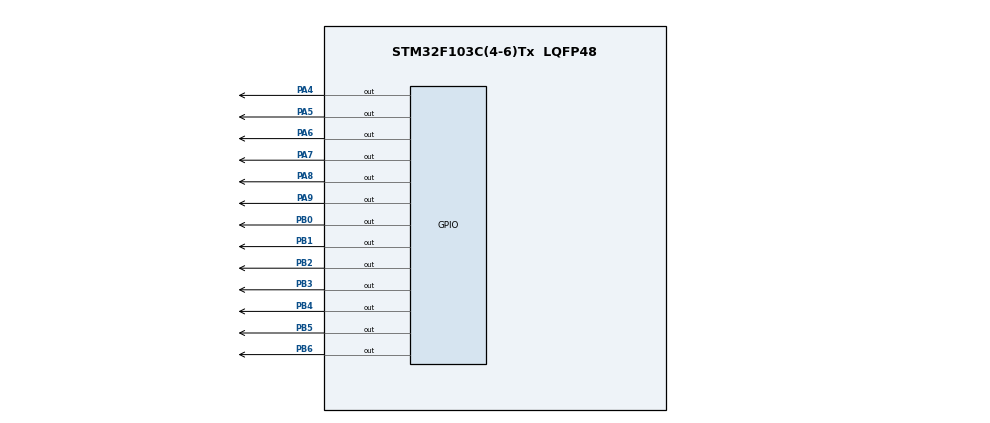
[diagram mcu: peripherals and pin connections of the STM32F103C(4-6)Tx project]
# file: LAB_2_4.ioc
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Mcu.Family=STM32F1
Mcu.Name=STM32F103C(4-6)Tx
Mcu.Package=LQFP48
NVIC.PriorityGroup=NVIC_PRIORITYGROUP_4
NVIC.TIM2_IRQn=true\:0\:0\:false\:false\:true\:true\:true
PA4.Signal=GPIO_Output
PA5.Signal=GPIO_Output
PA6.PinState=GPIO_PIN_SET
PA6.Signal=GPIO_Output
PA7.PinState=GPIO_PIN_SET
PA7.Signal=GPIO_Output
PA8.PinState=GPIO_PIN_SET
PA8.Signal=GPIO_Output
PA9.PinState=GPIO_PIN_SET
PA9.Signal=GPIO_Output
PB0.Signal=GPIO_Output
PB1.Signal=GPIO_Output
PB2.Signal=GPIO_Output
PB3.Signal=GPIO_Output
PB4.Signal=GPIO_Output
PB5.Signal=GPIO_Output
PB6.Signal=GPIO_Output
ProjectManager.HeapSize=0x200
ProjectManager.StackSize=0x400
ProjectManager.TargetToolchain=STM32CubeIDE
RCC.APB1Freq_Value=8000000
RCC.APB2Freq_Value=8000000
TIM2.Period=249
TIM2.Prescaler=7999
VP_SYS_VS_ND.Mode=No_Debug
VP_TIM2_VS_ClockSourceINT.Mode=Internal
board=custom

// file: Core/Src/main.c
/* USER CODE BEGIN Header */
/**
  ******************************************************************************
  * @file           : main.c
  * @brief          : Main program body
  ******************************************************************************
  * @attention
  *
  * <h2><center>&copy; Copyright (c) 2026 STMicroelectronics.
  * All rights reserved.</center></h2>
  *
  * This software component is licensed by ST under BSD 3-Clause license,
  * the "License"; You may not use this file except in compliance with the
  * License. You may obtain a copy of the License at:
  *                        opensource.org/licenses/BSD-3-Clause
  *
  ******************************************************************************
  */
/* USER CODE END Header */
#include "main.h"

TIM_HandleTypeDef htim2;

void SystemClock_Config(void);
static void MX_GPIO_Init(void);
static void MX_TIM2_Init(void);

/* USER CODE BEGIN 0 */
const int MAX_LED = 4;
int index_led = 0;
int led_buffer[4] = {1, 2, 3, 4};

void display7SEG(int num) {
    uint8_t segmentMap[10] = {0x40, 0x79, 0x24, 0x30, 0x19, 0x12, 0x02, 0x78, 0x00, 0x10};
    if (num < 0 || num > 9) return;
    uint8_t val = segmentMap[num];

    HAL_GPIO_WritePin(GPIOB, GPIO_PIN_0, (val >> 0) & 0x01);
    HAL_GPIO_WritePin(GPIOB, GPIO_PIN_1, (val >> 1) & 0x01);
    HAL_GPIO_WritePin(GPIOB, GPIO_PIN_2, (val >> 2) & 0x01);
    HAL_GPIO_WritePin(GPIOB, GPIO_PIN_3, (val >> 3) & 0x01);
    HAL_GPIO_WritePin(GPIOB, GPIO_PIN_4, (val >> 4) & 0x01);
    HAL_GPIO_WritePin(GPIOB, GPIO_PIN_5, (val >> 5) & 0x01);
    HAL_GPIO_WritePin(GPIOB, GPIO_PIN_6, (val >> 6) & 0x01);
}

void update7SEG(int index) {
    // 1. Turn OFF all Enable pins first to prevent ghosting (PA6 to PA9 High)
    HAL_GPIO_WritePin(GPIOA, GPIO_PIN_6 | GPIO_PIN_7 | GPIO_PIN_8 | GPIO_PIN_9, GPIO_PIN_SET);

    // 2. Output the data and turn ON the specific transistor (Low)
    switch (index) {
        case 0:
            display7SEG(led_buffer[0]);
            HAL_GPIO_WritePin(GPIOA, GPIO_PIN_6, GPIO_PIN_RESET);
            break;
        case 1:
            display7SEG(led_buffer[1]);
            HAL_GPIO_WritePin(GPIOA, GPIO_PIN_7, GPIO_PIN_RESET);
            break;
        case 2:
            display7SEG(led_buffer[2]);
            HAL_GPIO_WritePin(GPIOA, GPIO_PIN_8, GPIO_PIN_RESET);
            break;
        case 3:
            display7SEG(led_buffer[3]);
            HAL_GPIO_WritePin(GPIOA, GPIO_PIN_9, GPIO_PIN_RESET);
            break;
        default:
            break;
    }
}
/* USER CODE END 0 */

int main(void)
{

  /* MCU Configuration--------------------------------------------------------*/

  /* Reset of all peripherals, Initializes the Flash interface and the Systick. */
  HAL_Init();

  /* Configure the system clock */
  SystemClock_Config();

  /* Initialize all configured peripherals */
  MX_GPIO_Init();
  MX_TIM2_Init();
  /* USER CODE BEGIN 2 */
  HAL_TIM_Base_Start_IT(&htim2);
  /* USER CODE END 2 */

  /* Infinite loop */
  /* USER CODE BEGIN WHILE */
  while (1)
  {
      HAL_GPIO_TogglePin(GPIOA, GPIO_PIN_4 | GPIO_PIN_5);

      HAL_Delay(1000);
    /* USER CODE END WHILE */

  }
}

void SystemClock_Config(void)
{
  RCC_OscInitTypeDef RCC_OscInitStruct = {0};
  RCC_ClkInitTypeDef RCC_ClkInitStruct = {0};

  /** Initializes the RCC Oscillators according to the specified parameters
  * in the RCC_OscInitTypeDef structure.
  */
  RCC_OscInitStruct.OscillatorType = RCC_OSCILLATORTYPE_HSI;
  RCC_OscInitStruct.HSIState = RCC_HSI_ON;
  RCC_OscInitStruct.HSICalibrationValue = RCC_HSICALIBRATION_DEFAULT;
  RCC_OscInitStruct.PLL.PLLState = RCC_PLL_NONE;
  if (HAL_RCC_OscConfig(&RCC_OscInitStruct) != HAL_OK)
  {
    Error_Handler();
  }
  /** Initializes the CPU, AHB and APB buses clocks
  */
  RCC_ClkInitStruct.ClockType = RCC_CLOCKTYPE_HCLK|RCC_CLOCKTYPE_SYSCLK
                              |RCC_CLOCKTYPE_PCLK1|RCC_CLOCKTYPE_PCLK2;
  RCC_ClkInitStruct.SYSCLKSource = RCC_SYSCLKSOURCE_HSI;
  RCC_ClkInitStruct.AHBCLKDivider = RCC_SYSCLK_DIV1;
  RCC_ClkInitStruct.APB1CLKDivider = RCC_HCLK_DIV1;
  RCC_ClkInitStruct.APB2CLKDivider = RCC_HCLK_DIV1;

  if (HAL_RCC_ClockConfig(&RCC_ClkInitStruct, FLASH_LATENCY_0) != HAL_OK)
  {
    Error_Handler();
  }
}

static void MX_TIM2_Init(void)
{

  TIM_ClockConfigTypeDef sClockSourceConfig = {0};
  TIM_MasterConfigTypeDef sMasterConfig = {0};

  htim2.Instance = TIM2;
  htim2.Init.Prescaler = 7999;
  htim2.Init.CounterMode = TIM_COUNTERMODE_UP;
  htim2.Init.Period = 249;
  htim2.Init.ClockDivision = TIM_CLOCKDIVISION_DIV1;
  htim2.Init.AutoReloadPreload = TIM_AUTORELOAD_PRELOAD_DISABLE;
  if (HAL_TIM_Base_Init(&htim2) != HAL_OK)
  {
    Error_Handler();
  }
  sClockSourceConfig.ClockSource = TIM_CLOCKSOURCE_INTERNAL;
  if (HAL_TIM_ConfigClockSource(&htim2, &sClockSourceConfig) != HAL_OK)
  {
    Error_Handler();
  }
  sMasterConfig.MasterOutputTrigger = TIM_TRGO_RESET;
  sMasterConfig.MasterSlaveMode = TIM_MASTERSLAVEMODE_DISABLE;
  if (HAL_TIMEx_MasterConfigSynchronization(&htim2, &sMasterConfig) != HAL_OK)
  {
    Error_Handler();
  }

}

static void MX_GPIO_Init(void)
{
  GPIO_InitTypeDef GPIO_InitStruct = {0};

  /* GPIO Ports Clock Enable */
  __HAL_RCC_GPIOA_CLK_ENABLE();
  __HAL_RCC_GPIOB_CLK_ENABLE();

  /*Configure GPIO pin Output Level */
  HAL_GPIO_WritePin(GPIOA, GPIO_PIN_4|GPIO_PIN_5, GPIO_PIN_RESET);

  /*Configure GPIO pin Output Level */
  HAL_GPIO_WritePin(GPIOA, GPIO_PIN_6|GPIO_PIN_7|GPIO_PIN_8|GPIO_PIN_9, GPIO_PIN_SET);

  /*Configure GPIO pin Output Level */
  HAL_GPIO_WritePin(GPIOB, GPIO_PIN_0|GPIO_PIN_1|GPIO_PIN_2|GPIO_PIN_3
                          |GPIO_PIN_4|GPIO_PIN_5|GPIO_PIN_6, GPIO_PIN_RESET);

  /*Configure GPIO pins : PA4 PA5 PA6 PA7
                           PA8 PA9 */
  GPIO_InitStruct.Pin = GPIO_PIN_4|GPIO_PIN_5|GPIO_PIN_6|GPIO_PIN_7
                          |GPIO_PIN_8|GPIO_PIN_9;
  GPIO_InitStruct.Mode = GPIO_MODE_OUTPUT_PP;
  GPIO_InitStruct.Pull = GPIO_NOPULL;
  GPIO_InitStruct.Speed = GPIO_SPEED_FREQ_LOW;
  HAL_GPIO_Init(GPIOA, &GPIO_InitStruct);

  /*Configure GPIO pins : PB0 PB1 PB2 PB3
                           PB4 PB5 PB6 */
  GPIO_InitStruct.Pin = GPIO_PIN_0|GPIO_PIN_1|GPIO_PIN_2|GPIO_PIN_3
                          |GPIO_PIN_4|GPIO_PIN_5|GPIO_PIN_6;
  GPIO_InitStruct.Mode = GPIO_MODE_OUTPUT_PP;
  GPIO_InitStruct.Pull = GPIO_NOPULL;
  GPIO_InitStruct.Speed = GPIO_SPEED_FREQ_LOW;
  HAL_GPIO_Init(GPIOB, &GPIO_InitStruct);

}

/* USER CODE BEGIN 4 */
void HAL_TIM_PeriodElapsedCallback(TIM_HandleTypeDef *htim)
{
    if(htim->Instance == TIM2)
    {
        update7SEG(index_led++);
        if (index_led >= MAX_LED) {
            index_led = 0;
        }
    }
}
/* USER CODE END 4 */

void Error_Handler(void)
{
  __disable_irq();
  while (1)
  {
  }
}

/************************ (C) COPYRIGHT STMicroelectronics *****END OF FILE****/
